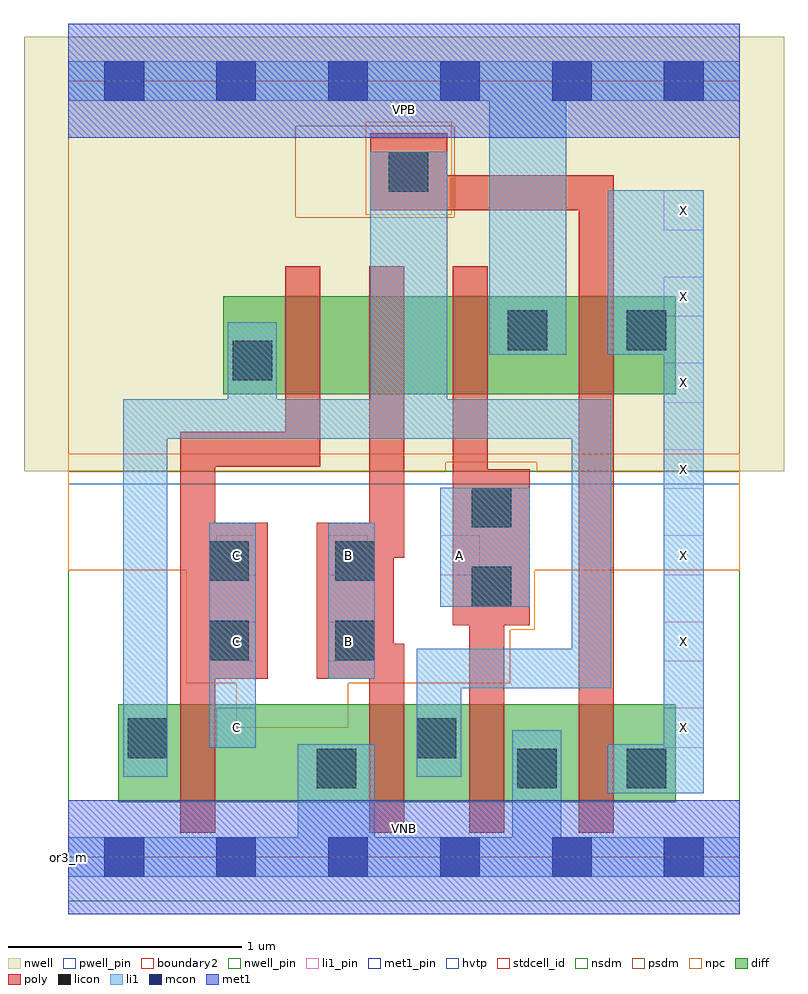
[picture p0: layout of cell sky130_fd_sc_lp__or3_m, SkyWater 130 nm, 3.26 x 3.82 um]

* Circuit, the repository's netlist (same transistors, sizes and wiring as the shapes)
* Copyright 2020 The SkyWater PDK Authors
*
* Licensed under the Apache License, Version 2.0 (the "License");
* you may not use this file except in compliance with the License.
* You may obtain a copy of the License at
*
*     https://www.apache.org/licenses/LICENSE-2.0
*
* Unless required by applicable law or agreed to in writing, software
* distributed under the License is distributed on an "AS IS" BASIS,
* WITHOUT WARRANTIES OR CONDITIONS OF ANY KIND, either express or implied.
* See the License for the specific language governing permissions and
* limitations under the License.
*
* SPDX-License-Identifier: Apache-2.0

.SUBCKT sky130_fd_sc_lp__or3_m A B C VGND VNB VPB VPWR X
*.PININFO A:I B:I C:I VGND:I VNB:I VPB:I VPWR:I X:O
MMP0 VPWR A sndPA VPB sky130_fd_pr__pfet_01v8_hvt m=1 w=0.42U l=0.15U mult=1 sa=0.265
+ sb=0.265 sd=0.28 area=0.063 perim=1.14
MMP1 sndPA B sndPB VPB sky130_fd_pr__pfet_01v8_hvt m=1 w=0.42U l=0.15U mult=1 sa=0.265
+ sb=0.265 sd=0.28 area=0.063 perim=1.14
MMP2 sndPB C y VPB sky130_fd_pr__pfet_01v8_hvt m=1 w=0.42U l=0.15U mult=1 sa=0.265
+ sb=0.265 sd=0.28 area=0.063 perim=1.14
MMIP3 X y VPWR VPB sky130_fd_pr__pfet_01v8_hvt m=1 w=0.42U l=0.15U mult=1 sa=0.265
+ sb=0.265 sd=0.28 area=0.063 perim=1.14
MMN0 y A VGND VNB sky130_fd_pr__nfet_01v8 m=1 w=0.42U l=0.15U mult=1 sa=0.265 sb=0.265
+ sd=0.28 area=0.063 perim=1.14
MMN1 y B VGND VNB sky130_fd_pr__nfet_01v8 m=1 w=0.42U l=0.15U mult=1 sa=0.265 sb=0.265
+ sd=0.28 area=0.063 perim=1.14
MMN2 y C VGND VNB sky130_fd_pr__nfet_01v8 m=1 w=0.42U l=0.15U mult=1 sa=0.265 sb=0.265
+ sd=0.28 area=0.063 perim=1.14
MMIN3 X y VGND VNB sky130_fd_pr__nfet_01v8 m=1 w=0.42U l=0.15U mult=1 sa=0.265
+ sb=0.265 sd=0.28 area=0.063 perim=1.14
.ENDS sky130_fd_sc_lp__or3_m

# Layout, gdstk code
import gdstk
lib = gdstk.Library(unit=1e-6, precision=1e-09)
def R(c, l, rs):  # rectangles x0, y0, x1, y1
    for r in rs: c.add(gdstk.rectangle(r[:2], r[2:], *l))
def A(c, l, x, y, w, h, nx, ny, dx, dy):  # array of equal rectangles
    R(c, l, [(x+i*dx, y+j*dy, x+i*dx+w, y+j*dy+h) for i in range(nx) for j in range(ny)])
def P(c, l, *ps):  # polygons
    for p in ps: c.add(gdstk.Polygon(p, *l))
nwell_pin = (64, 16)
nwell = (64, 20)
diff = (65, 20)
poly = (66, 20)
licon = (66, 44)
li1_pin = (67, 16)
li1 = (67, 20)
mcon = (67, 44)
met1_pin = (68, 16)
met1 = (68, 20)
hvtp = (78, 44)
stdcell_id = (81, 4)
nsdm = (93, 44)
psdm = (94, 20)
npc = (95, 20)
pwell_pin = (122, 16)
boundary2 = (236, 0)

sky130_fd_sc_lp__or3_m = lib.new_cell('sky130_fd_sc_lp__or3_m')
R(sky130_fd_sc_lp__or3_m, nwell_pin, [(0,3.085,2.88,3.33)])
R(sky130_fd_sc_lp__or3_m, nwell, [(-0.19,1.655,3.07,3.52)])
R(sky130_fd_sc_lp__or3_m, diff, [(0.215,0.235,2.605,0.655), (0.665,1.985,2.605,2.405)])
P(sky130_fd_sc_lp__or3_m, poly, [(1.08,2.535),(0.93,2.535),(0.93,1.825),(0.48,1.825),(0.48,0.105),(0.63,0.105),(0.63,0.765),(0.855,0.765),(0.855,1.435),(0.63,1.435),(0.63,1.675),(1.08,1.675)],
  [(1.44,0.915),(1.395,0.915),(1.395,1.285),(1.44,1.285),(1.44,2.535),(1.29,2.535),(1.29,1.435),(1.065,1.435),(1.065,0.765),(1.29,0.765),(1.29,0.105),(1.44,0.105)],
  [(1.98,1.665),(1.8,1.665),(1.8,2.535),(1.65,2.535),(1.65,0.995),(1.72,0.995),(1.72,0.105),(1.87,0.105),(1.87,0.995),(1.98,0.995)],
  [(2.34,2.925),(1.625,2.925),(1.625,3.105),(1.295,3.105),(1.295,2.775),(2.19,2.775),(2.19,0.105),(2.34,0.105)])
R(sky130_fd_sc_lp__or3_m, licon, [(1.065,0.295,1.235,0.465), (1.925,0.295,2.095,0.465), (2.395,0.295,2.565,0.465), (0.255,0.425,0.425,0.595), (1.495,0.425,1.665,0.595), (0.605,0.845,0.775,1.015), (1.145,0.845,1.315,1.015), (1.73,1.075,1.9,1.245), (0.605,1.185,0.775,1.355), (1.145,1.185,1.315,1.355), (1.73,1.415,1.9,1.585), (0.705,2.045,0.875,2.215), (1.885,2.175,2.055,2.345), (2.395,2.175,2.565,2.345), (1.375,2.855,1.545,3.025)])
A(sky130_fd_sc_lp__or3_m, li1_pin, 2.555, 0.47, 0.17, 0.17, 1, 7, 0, 0.37)
A(sky130_fd_sc_lp__or3_m, li1_pin, 0.635, 1.21, 0.17, 0.17, 3, 1, 0.48, 0)
R(sky130_fd_sc_lp__or3_m, li1_pin, [(0.635,0.47,0.805,0.64), (0.635,0.84,0.805,1.01), (1.115,0.84,1.285,1.01)])
R(sky130_fd_sc_lp__or3_m, li1, [(0.605,0.47,0.805,1.435), (1.115,0.765,1.315,1.435), (1.595,1.075,1.98,1.585)])
P(sky130_fd_sc_lp__or3_m, li1, [(1.805,2.155),(1.805,3.245),(0,3.245),(0,3.415),(2.88,3.415),(2.88,3.245),(2.135,3.245),(2.135,2.155)],
  [(1.905,0.085),(1.905,0.545),(2.115,0.545),(2.115,0.085),(2.88,0.085),(2.88,-0.085),(0,-0.085),(0,0.085),(0.985,0.085),(0.985,0.485),(1.315,0.485),(1.315,0.085)],
  [(2.555,0.485),(2.555,2.155),(2.315,2.155),(2.315,2.86),(2.725,2.86),(2.725,0.275),(2.315,0.275),(2.315,0.485)],
  [(0.235,1.965),(0.685,1.965),(0.685,2.295),(0.895,2.295),(0.895,1.965),(1.295,1.965),(1.295,3.025),(1.625,3.025),(1.625,1.965),(2.33,1.965),(2.33,0.725),(1.685,0.725),(1.685,0.345),(1.495,0.345),(1.495,0.895),(2.16,0.895),(2.16,1.795),(0.425,1.795),(0.425,0.345),(0.235,0.345)])
A(sky130_fd_sc_lp__or3_m, mcon, 0.155, -0.085, 0.17, 0.17, 6, 2, 0.48, 3.33)
R(sky130_fd_sc_lp__or3_m, met1_pin, [(0,0,2.88,0.245), (0,3.085,2.88,3.33)])
R(sky130_fd_sc_lp__or3_m, met1, [(0,-0.245,2.88,0.245), (0,3.085,2.88,3.575)])
R(sky130_fd_sc_lp__or3_m, hvtp, [(0,1.6,2.88,3.33)])
R(sky130_fd_sc_lp__or3_m, stdcell_id, [(0,0,2.88,3.33)])
R(sky130_fd_sc_lp__or3_m, nsdm, [(0,-0.19,2.88,1.655)])
P(sky130_fd_sc_lp__or3_m, psdm, [(2.88,3.52),(1.655,3.52),(1.655,2.745),(0.975,2.745),(0.975,3.135),(1.655,3.135),(1.655,3.52),(0,3.52),(0,1.655),(1.62,1.655),(1.62,1.695),(2.01,1.695),(2.01,1.655),(2.88,1.655)])
R(sky130_fd_sc_lp__or3_m, npc, [(1.275,2.755,1.645,3.155)])
P(sky130_fd_sc_lp__or3_m, npc, [(2.88,1.73),(0,1.73),(0,1.23),(0.505,1.23),(0.505,0.745),(0.72,0.745),(0.72,0.555),(1.2,0.555),(1.2,0.745),(1.895,0.745),(1.895,0.975),(2,0.975),(2,1.23),(2.88,1.23)])
R(sky130_fd_sc_lp__or3_m, pwell_pin, [(0,0,2.88,0.245)])
R(sky130_fd_sc_lp__or3_m, boundary2, [(0,0,2.88,3.33)])
sky130_fd_sc_lp__or3_m.add(gdstk.Label('VNB', (1.44,0.123), layer=64, texttype=59))
sky130_fd_sc_lp__or3_m.add(gdstk.Label('VPB', (1.44,3.208), layer=64, texttype=5))
sky130_fd_sc_lp__or3_m.add(gdstk.Label('or3_m', (0,0), layer=83, texttype=44))
sky130_fd_sc_lp__or3_m.add(gdstk.Label('VPWR', (1.44,3.208), layer=68, texttype=5))
sky130_fd_sc_lp__or3_m.add(gdstk.Label('VGND', (1.44,0.123), layer=68, texttype=5))
sky130_fd_sc_lp__or3_m.add(gdstk.Label('A', (1.68,1.295), layer=67, texttype=5))
sky130_fd_sc_lp__or3_m.add(gdstk.Label('B', (1.2,0.925), layer=67, texttype=5))
sky130_fd_sc_lp__or3_m.add(gdstk.Label('B', (1.2,1.295), layer=67, texttype=5))
sky130_fd_sc_lp__or3_m.add(gdstk.Label('C', (0.72,0.555), layer=67, texttype=5))
sky130_fd_sc_lp__or3_m.add(gdstk.Label('C', (0.72,0.925), layer=67, texttype=5))
sky130_fd_sc_lp__or3_m.add(gdstk.Label('C', (0.72,1.295), layer=67, texttype=5))
sky130_fd_sc_lp__or3_m.add(gdstk.Label('X', (2.64,0.555), layer=67, texttype=5))
sky130_fd_sc_lp__or3_m.add(gdstk.Label('X', (2.64,0.925), layer=67, texttype=5))
sky130_fd_sc_lp__or3_m.add(gdstk.Label('X', (2.64,1.295), layer=67, texttype=5))
sky130_fd_sc_lp__or3_m.add(gdstk.Label('X', (2.64,1.665), layer=67, texttype=5))
sky130_fd_sc_lp__or3_m.add(gdstk.Label('X', (2.64,2.035), layer=67, texttype=5))
sky130_fd_sc_lp__or3_m.add(gdstk.Label('X', (2.64,2.405), layer=67, texttype=5))
sky130_fd_sc_lp__or3_m.add(gdstk.Label('X', (2.64,2.775), layer=67, texttype=5))

lib.write_gds('sky130_fd_sc_lp__or3_m.gds')
